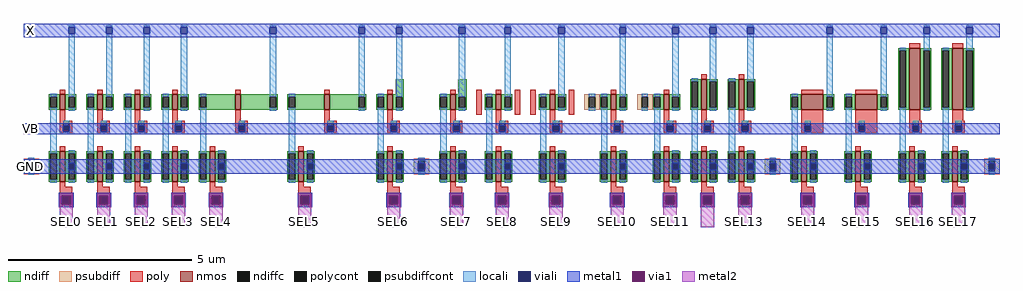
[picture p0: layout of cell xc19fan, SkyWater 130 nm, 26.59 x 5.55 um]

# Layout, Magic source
magic
tech sky130A
magscale 1 2
<< nmos >>
rect 198 0 228 84
rect 402 0 432 84
rect 606 0 636 84
rect 810 0 840 84
rect 1154 0 1184 84
rect 1638 0 1668 84
rect 1982 0 2012 84
rect 2324 0 2354 84
rect 2573 0 2603 84
rect 2867 0 2897 84
rect 3200 0 3230 84
rect 3488 0 3518 84
rect 3692 0 3722 168
rect 3896 0 3926 168
rect 4238 0 4358 84
rect 4532 0 4652 84
rect 4826 0 4886 336
rect 5060 0 5120 336
rect 198 -392 228 -224
rect 402 -392 432 -224
rect 606 -392 636 -224
rect 810 -392 840 -224
rect 1014 -392 1044 -224
rect 1498 -392 1528 -224
rect 1982 -392 2012 -224
rect 2324 -392 2354 -224
rect 2573 -392 2603 -224
rect 2867 -392 2897 -224
rect 3200 -392 3230 -224
rect 3488 -392 3518 -224
rect 3692 -392 3722 -224
rect 3896 -392 3926 -224
rect 4238 -392 4268 -224
rect 4532 -392 4562 -224
rect 4826 -392 4856 -224
rect 5060 -392 5090 -224
<< ndiff >>
rect 4766 324 4826 336
rect 2027 84 2072 168
rect 2369 84 2414 168
rect 3632 156 3692 168
rect 138 72 198 84
rect 138 12 146 72
rect 180 12 198 72
rect 138 0 198 12
rect 228 72 288 84
rect 228 12 246 72
rect 280 12 288 72
rect 228 0 288 12
rect 342 72 402 84
rect 342 12 350 72
rect 384 12 402 72
rect 342 0 402 12
rect 432 72 492 84
rect 432 12 450 72
rect 484 12 492 72
rect 432 0 492 12
rect 546 72 606 84
rect 546 12 554 72
rect 588 12 606 72
rect 546 0 606 12
rect 636 72 696 84
rect 636 12 654 72
rect 688 12 696 72
rect 636 0 696 12
rect 750 72 810 84
rect 750 12 758 72
rect 792 12 810 72
rect 750 0 810 12
rect 840 72 900 84
rect 840 12 858 72
rect 892 12 900 72
rect 840 0 900 12
rect 954 72 1154 84
rect 954 12 962 72
rect 996 12 1154 72
rect 954 0 1154 12
rect 1184 72 1384 84
rect 1184 12 1342 72
rect 1376 12 1384 72
rect 1184 0 1384 12
rect 1438 72 1638 84
rect 1438 12 1446 72
rect 1480 12 1638 72
rect 1438 0 1638 12
rect 1668 72 1868 84
rect 1668 12 1826 72
rect 1860 12 1868 72
rect 1668 0 1868 12
rect 1922 72 1982 84
rect 1922 12 1930 72
rect 1964 12 1982 72
rect 1922 0 1982 12
rect 2012 72 2072 84
rect 2012 12 2030 72
rect 2064 12 2072 72
rect 2012 0 2072 12
rect 2264 72 2324 84
rect 2264 12 2272 72
rect 2306 12 2324 72
rect 2264 0 2324 12
rect 2354 72 2414 84
rect 2354 12 2372 72
rect 2406 12 2414 72
rect 2354 0 2414 12
rect 2513 72 2573 84
rect 2513 12 2521 72
rect 2555 12 2573 72
rect 2513 0 2573 12
rect 2603 72 2663 84
rect 2603 12 2621 72
rect 2655 12 2663 72
rect 2603 0 2663 12
rect 2807 72 2867 84
rect 2807 12 2815 72
rect 2849 12 2867 72
rect 2807 0 2867 12
rect 2897 72 2957 84
rect 2897 12 2915 72
rect 2949 12 2957 72
rect 2897 0 2957 12
rect 3140 72 3200 84
rect 3140 12 3148 72
rect 3182 12 3200 72
rect 3140 0 3200 12
rect 3230 72 3290 84
rect 3230 12 3248 72
rect 3282 12 3290 72
rect 3230 0 3290 12
rect 3428 72 3488 84
rect 3428 12 3436 72
rect 3470 12 3488 72
rect 3428 0 3488 12
rect 3518 72 3578 84
rect 3518 12 3536 72
rect 3570 12 3578 72
rect 3518 0 3578 12
rect 3632 12 3640 156
rect 3674 12 3692 156
rect 3632 0 3692 12
rect 3722 156 3782 168
rect 3722 12 3740 156
rect 3774 12 3782 156
rect 3722 0 3782 12
rect 3836 156 3896 168
rect 3836 12 3844 156
rect 3878 12 3896 156
rect 3836 0 3896 12
rect 3926 156 3986 168
rect 3926 12 3944 156
rect 3978 12 3986 156
rect 3926 0 3986 12
rect 4178 72 4238 84
rect 4178 12 4186 72
rect 4220 12 4238 72
rect 4178 0 4238 12
rect 4358 72 4418 84
rect 4358 12 4376 72
rect 4410 12 4418 72
rect 4358 0 4418 12
rect 4472 72 4532 84
rect 4472 12 4480 72
rect 4514 12 4532 72
rect 4472 0 4532 12
rect 4652 72 4712 84
rect 4652 12 4670 72
rect 4704 12 4712 72
rect 4652 0 4712 12
rect 4766 12 4774 324
rect 4808 12 4826 324
rect 4766 0 4826 12
rect 4886 324 4946 336
rect 4886 12 4904 324
rect 4938 12 4946 324
rect 4886 0 4946 12
rect 5000 324 5060 336
rect 5000 12 5008 324
rect 5042 12 5060 324
rect 5000 0 5060 12
rect 5120 324 5180 336
rect 5120 12 5138 324
rect 5172 12 5180 324
rect 5120 0 5180 12
rect 138 -236 198 -224
rect 138 -380 146 -236
rect 180 -380 198 -236
rect 138 -392 198 -380
rect 228 -236 288 -224
rect 228 -380 246 -236
rect 280 -380 288 -236
rect 228 -392 288 -380
rect 342 -236 402 -224
rect 342 -380 350 -236
rect 384 -380 402 -236
rect 342 -392 402 -380
rect 432 -236 492 -224
rect 432 -380 450 -236
rect 484 -380 492 -236
rect 432 -392 492 -380
rect 546 -236 606 -224
rect 546 -380 554 -236
rect 588 -380 606 -236
rect 546 -392 606 -380
rect 636 -236 696 -224
rect 636 -380 654 -236
rect 688 -380 696 -236
rect 636 -392 696 -380
rect 750 -236 810 -224
rect 750 -380 758 -236
rect 792 -380 810 -236
rect 750 -392 810 -380
rect 840 -236 900 -224
rect 840 -380 858 -236
rect 892 -380 900 -236
rect 840 -392 900 -380
rect 954 -236 1014 -224
rect 954 -380 962 -236
rect 996 -380 1014 -236
rect 954 -392 1014 -380
rect 1044 -236 1104 -224
rect 1044 -380 1062 -236
rect 1096 -380 1104 -236
rect 1044 -392 1104 -380
rect 1438 -236 1498 -224
rect 1438 -380 1446 -236
rect 1480 -380 1498 -236
rect 1438 -392 1498 -380
rect 1528 -236 1588 -224
rect 1528 -380 1546 -236
rect 1580 -380 1588 -236
rect 1528 -392 1588 -380
rect 1922 -236 1982 -224
rect 1922 -380 1930 -236
rect 1964 -380 1982 -236
rect 1922 -392 1982 -380
rect 2012 -236 2072 -224
rect 2012 -380 2030 -236
rect 2064 -380 2072 -236
rect 2264 -236 2324 -224
rect 2012 -392 2072 -380
rect 2264 -380 2272 -236
rect 2306 -380 2324 -236
rect 2264 -392 2324 -380
rect 2354 -236 2414 -224
rect 2354 -380 2372 -236
rect 2406 -380 2414 -236
rect 2354 -392 2414 -380
rect 2513 -236 2573 -224
rect 2513 -380 2521 -236
rect 2555 -380 2573 -236
rect 2513 -392 2573 -380
rect 2603 -236 2663 -224
rect 2603 -380 2621 -236
rect 2655 -380 2663 -236
rect 2603 -392 2663 -380
rect 2807 -236 2867 -224
rect 2807 -380 2815 -236
rect 2849 -380 2867 -236
rect 2807 -392 2867 -380
rect 2897 -236 2957 -224
rect 2897 -380 2915 -236
rect 2949 -380 2957 -236
rect 2897 -392 2957 -380
rect 3140 -236 3200 -224
rect 3140 -380 3148 -236
rect 3182 -380 3200 -236
rect 3140 -392 3200 -380
rect 3230 -236 3290 -224
rect 3230 -380 3248 -236
rect 3282 -380 3290 -236
rect 3230 -392 3290 -380
rect 3428 -236 3488 -224
rect 3428 -380 3436 -236
rect 3470 -380 3488 -236
rect 3428 -392 3488 -380
rect 3518 -236 3578 -224
rect 3518 -380 3536 -236
rect 3570 -380 3578 -236
rect 3518 -392 3578 -380
rect 3632 -236 3692 -224
rect 3632 -380 3640 -236
rect 3674 -380 3692 -236
rect 3632 -392 3692 -380
rect 3722 -236 3782 -224
rect 3722 -380 3740 -236
rect 3774 -380 3782 -236
rect 3722 -392 3782 -380
rect 3836 -236 3896 -224
rect 3836 -380 3844 -236
rect 3878 -380 3896 -236
rect 3836 -392 3896 -380
rect 3926 -236 3986 -224
rect 3926 -380 3944 -236
rect 3978 -380 3986 -236
rect 4178 -236 4238 -224
rect 3926 -392 3986 -380
rect 4178 -380 4186 -236
rect 4220 -380 4238 -236
rect 4178 -392 4238 -380
rect 4268 -236 4328 -224
rect 4268 -380 4286 -236
rect 4320 -380 4328 -236
rect 4268 -392 4328 -380
rect 4472 -236 4532 -224
rect 4472 -380 4480 -236
rect 4514 -380 4532 -236
rect 4472 -392 4532 -380
rect 4562 -236 4622 -224
rect 4562 -380 4580 -236
rect 4614 -380 4622 -236
rect 4562 -392 4622 -380
rect 4766 -236 4826 -224
rect 4766 -380 4774 -236
rect 4808 -380 4826 -236
rect 4766 -392 4826 -380
rect 4856 -236 4916 -224
rect 4856 -380 4874 -236
rect 4908 -380 4916 -236
rect 4856 -392 4916 -380
rect 5000 -236 5060 -224
rect 5000 -380 5008 -236
rect 5042 -380 5060 -236
rect 5000 -392 5060 -380
rect 5090 -236 5150 -224
rect 5090 -380 5108 -236
rect 5142 -380 5150 -236
rect 5090 -392 5150 -380
<< ndiffc >>
rect 146 12 180 72
rect 246 12 280 72
rect 350 12 384 72
rect 450 12 484 72
rect 554 12 588 72
rect 654 12 688 72
rect 758 12 792 72
rect 858 12 892 72
rect 962 12 996 72
rect 1342 12 1376 72
rect 1446 12 1480 72
rect 1826 12 1860 72
rect 1930 12 1964 72
rect 2030 12 2064 72
rect 2272 12 2306 72
rect 2372 12 2406 72
rect 2521 12 2555 72
rect 2621 12 2655 72
rect 2815 12 2849 72
rect 2915 12 2949 72
rect 3148 12 3182 72
rect 3248 12 3282 72
rect 3436 12 3470 72
rect 3536 12 3570 72
rect 3640 12 3674 156
rect 3740 12 3774 156
rect 3844 12 3878 156
rect 3944 12 3978 156
rect 4186 12 4220 72
rect 4376 12 4410 72
rect 4480 12 4514 72
rect 4670 12 4704 72
rect 4774 12 4808 324
rect 4904 12 4938 324
rect 5008 12 5042 324
rect 5138 12 5172 324
rect 146 -380 180 -236
rect 246 -380 280 -236
rect 350 -380 384 -236
rect 450 -380 484 -236
rect 554 -380 588 -236
rect 654 -380 688 -236
rect 758 -380 792 -236
rect 858 -380 892 -236
rect 962 -380 996 -236
rect 1062 -380 1096 -236
rect 1446 -380 1480 -236
rect 1546 -380 1580 -236
rect 1930 -380 1964 -236
rect 2030 -380 2064 -236
rect 2272 -380 2306 -236
rect 2372 -380 2406 -236
rect 2521 -380 2555 -236
rect 2621 -380 2655 -236
rect 2815 -380 2849 -236
rect 2915 -380 2949 -236
rect 3148 -380 3182 -236
rect 3248 -380 3282 -236
rect 3436 -380 3470 -236
rect 3536 -380 3570 -236
rect 3640 -380 3674 -236
rect 3740 -380 3774 -236
rect 3844 -380 3878 -236
rect 3944 -380 3978 -236
rect 4186 -380 4220 -236
rect 4286 -380 4320 -236
rect 4480 -380 4514 -236
rect 4580 -380 4614 -236
rect 4774 -380 4808 -236
rect 4874 -380 4908 -236
rect 5008 -380 5042 -236
rect 5108 -380 5142 -236
<< psubdiff >>
rect 3056 72 3140 84
rect 3056 12 3080 72
rect 3114 12 3140 72
rect 3056 0 3140 12
rect 3344 72 3428 84
rect 3344 12 3368 72
rect 3402 12 3428 72
rect 3344 0 3428 12
rect 0 -278 84 -266
rect 0 -338 25 -278
rect 59 -338 84 -278
rect 0 -350 84 -338
rect 2126 -278 2210 -266
rect 2126 -338 2151 -278
rect 2185 -338 2210 -278
rect 2126 -350 2210 -338
rect 4040 -278 4124 -266
rect 4040 -338 4065 -278
rect 4099 -338 4124 -278
rect 4040 -350 4124 -338
rect 5234 -278 5318 -266
rect 5234 -338 5259 -278
rect 5293 -338 5318 -278
rect 5234 -350 5318 -338
<< psubdiffcont >>
rect 3080 12 3114 72
rect 3368 12 3402 72
rect 25 -338 59 -278
rect 2151 -338 2185 -278
rect 4065 -338 4099 -278
rect 5259 -338 5293 -278
<< poly >>
rect 4826 336 4886 362
rect 5060 336 5120 362
rect 3692 168 3722 194
rect 3896 168 3926 194
rect 198 84 228 110
rect 402 84 432 110
rect 606 84 636 110
rect 810 84 840 110
rect 1154 84 1184 110
rect 1638 84 1668 110
rect 1982 84 2012 110
rect 2324 84 2354 110
rect 198 -58 228 0
rect 402 -58 432 0
rect 606 -58 636 0
rect 810 -58 840 0
rect 1154 -58 1184 0
rect 1638 -58 1668 0
rect 1982 -58 2012 0
rect 2324 -58 2354 0
rect 2468 -26 2498 110
rect 2573 84 2603 110
rect 2573 -58 2603 0
rect 2678 -26 2708 110
rect 2762 -26 2792 110
rect 2867 84 2897 110
rect 2867 -58 2897 0
rect 2972 -26 3002 110
rect 3200 84 3230 110
rect 3488 84 3518 110
rect 4238 84 4358 110
rect 4532 84 4652 110
rect 3200 -58 3230 0
rect 3488 -58 3518 0
rect 3692 -58 3722 0
rect 3896 -58 3926 0
rect 198 -74 266 -58
rect 198 -108 216 -74
rect 250 -108 266 -74
rect 198 -124 266 -108
rect 402 -74 470 -58
rect 402 -108 420 -74
rect 454 -108 470 -74
rect 402 -124 470 -108
rect 606 -74 674 -58
rect 606 -108 624 -74
rect 658 -108 674 -74
rect 606 -124 674 -108
rect 810 -74 878 -58
rect 810 -108 828 -74
rect 862 -108 878 -74
rect 810 -124 878 -108
rect 1154 -74 1222 -58
rect 1154 -108 1172 -74
rect 1206 -108 1222 -74
rect 1154 -124 1222 -108
rect 1638 -74 1706 -58
rect 1638 -108 1656 -74
rect 1690 -108 1706 -74
rect 1638 -124 1706 -108
rect 1982 -74 2050 -58
rect 1982 -108 2000 -74
rect 2034 -108 2050 -74
rect 1982 -124 2050 -108
rect 2324 -74 2392 -58
rect 2324 -108 2342 -74
rect 2376 -108 2392 -74
rect 2324 -124 2392 -108
rect 2573 -74 2641 -58
rect 2573 -108 2591 -74
rect 2625 -108 2641 -74
rect 2573 -124 2641 -108
rect 2867 -74 2935 -58
rect 2867 -108 2885 -74
rect 2919 -108 2935 -74
rect 2867 -124 2935 -108
rect 3200 -74 3268 -58
rect 3200 -108 3218 -74
rect 3252 -108 3268 -74
rect 3200 -124 3268 -108
rect 3488 -74 3556 -58
rect 3488 -108 3506 -74
rect 3540 -108 3556 -74
rect 3488 -124 3556 -108
rect 3692 -74 3760 -58
rect 3692 -108 3710 -74
rect 3744 -108 3760 -74
rect 3692 -124 3760 -108
rect 3896 -74 3964 -58
rect 3896 -108 3914 -74
rect 3948 -108 3964 -74
rect 3896 -124 3964 -108
rect 4238 -74 4358 0
rect 4238 -108 4256 -74
rect 4290 -108 4358 -74
rect 4238 -124 4358 -108
rect 4532 -74 4652 0
rect 4532 -108 4550 -74
rect 4584 -108 4652 -74
rect 4532 -124 4652 -108
rect 4826 -58 4886 0
rect 5060 -58 5120 0
rect 4826 -74 4894 -58
rect 4826 -108 4844 -74
rect 4878 -108 4894 -74
rect 4826 -124 4894 -108
rect 5060 -74 5128 -58
rect 5060 -108 5078 -74
rect 5112 -108 5128 -74
rect 5060 -124 5128 -108
rect 198 -224 228 -198
rect 402 -224 432 -198
rect 606 -224 636 -198
rect 810 -224 840 -198
rect 1014 -224 1044 -198
rect 1498 -224 1528 -198
rect 1982 -224 2012 -198
rect 2324 -224 2354 -198
rect 2573 -224 2603 -198
rect 2867 -224 2897 -198
rect 3200 -224 3230 -198
rect 3488 -224 3518 -198
rect 3692 -224 3722 -198
rect 3896 -224 3926 -198
rect 4238 -224 4268 -198
rect 4532 -224 4562 -198
rect 4826 -224 4856 -198
rect 5060 -224 5090 -198
rect 198 -418 228 -392
rect 402 -418 432 -392
rect 606 -418 636 -392
rect 810 -418 840 -392
rect 1014 -418 1044 -392
rect 1498 -418 1528 -392
rect 1982 -418 2012 -392
rect 2324 -418 2354 -392
rect 2573 -418 2603 -392
rect 2867 -418 2897 -392
rect 3200 -418 3230 -392
rect 3488 -418 3518 -392
rect 3692 -418 3722 -392
rect 3896 -418 3926 -392
rect 4238 -418 4268 -392
rect 4532 -418 4562 -392
rect 4826 -418 4856 -392
rect 5060 -418 5090 -392
rect 198 -474 266 -418
rect 198 -508 216 -474
rect 250 -508 266 -474
rect 198 -524 266 -508
rect 402 -474 470 -418
rect 402 -508 420 -474
rect 454 -508 470 -474
rect 402 -524 470 -508
rect 606 -474 674 -418
rect 606 -508 624 -474
rect 658 -508 674 -474
rect 606 -524 674 -508
rect 810 -474 878 -418
rect 810 -508 828 -474
rect 862 -508 878 -474
rect 810 -524 878 -508
rect 1014 -474 1082 -418
rect 1014 -508 1032 -474
rect 1066 -508 1082 -474
rect 1014 -524 1082 -508
rect 1498 -474 1566 -418
rect 1498 -508 1516 -474
rect 1550 -508 1566 -474
rect 1498 -524 1566 -508
rect 1982 -474 2050 -418
rect 1982 -508 2000 -474
rect 2034 -508 2050 -474
rect 1982 -524 2050 -508
rect 2324 -474 2392 -418
rect 2324 -508 2342 -474
rect 2376 -508 2392 -474
rect 2324 -524 2392 -508
rect 2573 -474 2641 -418
rect 2573 -508 2591 -474
rect 2625 -508 2641 -474
rect 2573 -524 2641 -508
rect 2867 -474 2935 -418
rect 2867 -508 2885 -474
rect 2919 -508 2935 -474
rect 2867 -524 2935 -508
rect 3200 -474 3268 -418
rect 3200 -508 3218 -474
rect 3252 -508 3268 -474
rect 3200 -524 3268 -508
rect 3488 -474 3556 -418
rect 3488 -508 3506 -474
rect 3540 -508 3556 -474
rect 3488 -524 3556 -508
rect 3692 -474 3760 -418
rect 3692 -508 3710 -474
rect 3744 -508 3760 -474
rect 3692 -524 3760 -508
rect 3896 -474 3964 -418
rect 3896 -508 3914 -474
rect 3948 -508 3964 -474
rect 3896 -524 3964 -508
rect 4238 -474 4306 -418
rect 4238 -508 4256 -474
rect 4290 -508 4306 -474
rect 4238 -524 4306 -508
rect 4532 -474 4600 -418
rect 4532 -508 4550 -474
rect 4584 -508 4600 -474
rect 4532 -524 4600 -508
rect 4826 -474 4894 -418
rect 4826 -508 4844 -474
rect 4878 -508 4894 -474
rect 4826 -524 4894 -508
rect 5060 -474 5128 -418
rect 5060 -508 5078 -474
rect 5112 -508 5128 -474
rect 5060 -524 5128 -508
<< polycont >>
rect 216 -108 250 -74
rect 420 -108 454 -74
rect 624 -108 658 -74
rect 828 -108 862 -74
rect 1172 -108 1206 -74
rect 1656 -108 1690 -74
rect 2000 -108 2034 -74
rect 2342 -108 2376 -74
rect 2591 -108 2625 -74
rect 2885 -108 2919 -74
rect 3218 -108 3252 -74
rect 3506 -108 3540 -74
rect 3710 -108 3744 -74
rect 3914 -108 3948 -74
rect 4256 -108 4290 -74
rect 4550 -108 4584 -74
rect 4844 -108 4878 -74
rect 5078 -108 5112 -74
rect 216 -508 250 -474
rect 420 -508 454 -474
rect 624 -508 658 -474
rect 828 -508 862 -474
rect 1032 -508 1066 -474
rect 1516 -508 1550 -474
rect 2000 -508 2034 -474
rect 2342 -508 2376 -474
rect 2591 -508 2625 -474
rect 2885 -508 2919 -474
rect 3218 -508 3252 -474
rect 3506 -508 3540 -474
rect 3710 -508 3744 -474
rect 3914 -508 3948 -474
rect 4256 -508 4290 -474
rect 4550 -508 4584 -474
rect 4844 -508 4878 -474
rect 5078 -508 5112 -474
<< locali >>
rect 246 450 280 462
rect 146 72 180 88
rect 146 -236 180 12
rect 246 72 280 416
rect 450 450 484 462
rect 246 -4 280 12
rect 350 72 384 88
rect 216 -74 250 -58
rect 216 -124 250 -120
rect 25 -278 59 -262
rect 25 -354 59 -338
rect 146 -396 180 -380
rect 246 -236 280 -220
rect 246 -396 280 -380
rect 350 -236 384 12
rect 450 72 484 416
rect 654 450 688 462
rect 450 -4 484 12
rect 554 72 588 88
rect 420 -74 454 -58
rect 420 -124 454 -120
rect 350 -396 384 -380
rect 450 -236 484 -220
rect 450 -396 484 -380
rect 554 -236 588 12
rect 654 72 688 416
rect 858 450 892 462
rect 654 -4 688 12
rect 758 72 792 88
rect 624 -74 658 -58
rect 624 -124 658 -120
rect 554 -396 588 -380
rect 654 -236 688 -220
rect 654 -396 688 -380
rect 758 -236 792 12
rect 858 72 892 416
rect 1342 450 1376 462
rect 858 -4 892 12
rect 962 72 996 88
rect 828 -74 862 -58
rect 828 -124 862 -120
rect 758 -396 792 -380
rect 858 -236 892 -220
rect 858 -396 892 -380
rect 962 -236 996 12
rect 1342 72 1376 416
rect 1826 450 1860 462
rect 1342 -4 1376 12
rect 1446 72 1480 88
rect 1172 -74 1206 -58
rect 1172 -124 1206 -120
rect 962 -396 996 -380
rect 1062 -236 1096 -220
rect 1062 -396 1096 -380
rect 1446 -236 1480 12
rect 1826 72 1860 416
rect 2030 450 2064 462
rect 1826 -4 1860 12
rect 1930 72 1964 88
rect 1656 -74 1690 -58
rect 1656 -124 1690 -120
rect 1446 -396 1480 -380
rect 1546 -236 1580 -220
rect 1546 -396 1580 -380
rect 1930 -236 1964 12
rect 2030 72 2064 416
rect 2372 450 2406 462
rect 2030 -4 2064 12
rect 2272 72 2306 88
rect 2000 -74 2034 -58
rect 2000 -124 2034 -120
rect 1930 -396 1964 -380
rect 2030 -236 2064 -220
rect 2272 -236 2306 12
rect 2372 72 2406 416
rect 2621 450 2655 462
rect 2372 -4 2406 12
rect 2521 72 2555 88
rect 2342 -74 2376 -58
rect 2342 -124 2376 -120
rect 2151 -278 2185 -262
rect 2151 -354 2185 -338
rect 2030 -396 2064 -380
rect 2272 -396 2306 -380
rect 2372 -236 2406 -220
rect 2372 -396 2406 -380
rect 2521 -236 2555 12
rect 2621 72 2655 416
rect 2915 450 2949 462
rect 2621 -4 2655 12
rect 2815 72 2849 88
rect 2591 -74 2625 -58
rect 2591 -124 2625 -120
rect 2521 -396 2555 -380
rect 2621 -236 2655 -220
rect 2621 -396 2655 -380
rect 2815 -236 2849 12
rect 2915 72 2949 416
rect 3248 450 3282 462
rect 2915 -4 2949 12
rect 3080 72 3114 88
rect 3080 -4 3114 12
rect 3148 72 3182 88
rect 2885 -74 2919 -58
rect 2885 -124 2919 -120
rect 2815 -396 2849 -380
rect 2915 -236 2949 -220
rect 2915 -396 2949 -380
rect 3148 -236 3182 12
rect 3248 72 3282 416
rect 3536 450 3570 462
rect 3248 -4 3282 12
rect 3368 72 3402 88
rect 3368 -4 3402 12
rect 3436 72 3470 88
rect 3218 -74 3252 -58
rect 3218 -124 3252 -120
rect 3148 -396 3182 -380
rect 3248 -236 3282 -220
rect 3248 -396 3282 -380
rect 3436 -236 3470 12
rect 3536 72 3570 416
rect 3740 450 3774 462
rect 3536 -4 3570 12
rect 3640 156 3674 172
rect 3506 -74 3540 -58
rect 3506 -124 3540 -120
rect 3436 -396 3470 -380
rect 3536 -236 3570 -220
rect 3536 -396 3570 -380
rect 3640 -236 3674 12
rect 3740 156 3774 416
rect 3944 450 3978 462
rect 3740 -4 3774 12
rect 3844 156 3878 172
rect 3710 -74 3744 -58
rect 3710 -124 3744 -120
rect 3640 -396 3674 -380
rect 3740 -236 3774 -220
rect 3740 -396 3774 -380
rect 3844 -236 3878 12
rect 3944 156 3978 416
rect 4376 450 4410 462
rect 3944 -4 3978 12
rect 4186 72 4220 88
rect 3914 -74 3948 -58
rect 3914 -124 3948 -120
rect 3844 -396 3878 -380
rect 3944 -236 3978 -220
rect 4186 -236 4220 12
rect 4376 72 4410 416
rect 4670 450 4704 462
rect 4376 -4 4410 12
rect 4480 72 4514 88
rect 4256 -74 4290 -58
rect 4256 -124 4290 -120
rect 4065 -278 4099 -262
rect 4065 -354 4099 -338
rect 3944 -396 3978 -380
rect 4186 -396 4220 -380
rect 4286 -236 4320 -220
rect 4286 -396 4320 -380
rect 4480 -236 4514 12
rect 4670 72 4704 416
rect 4904 450 4938 462
rect 4670 -4 4704 12
rect 4774 324 4808 340
rect 4550 -74 4584 -58
rect 4550 -124 4584 -120
rect 4480 -396 4514 -380
rect 4580 -236 4614 -220
rect 4580 -396 4614 -380
rect 4774 -236 4808 12
rect 4904 324 4938 416
rect 5138 450 5172 462
rect 4904 -4 4938 12
rect 5008 324 5042 340
rect 4844 -74 4878 -58
rect 4844 -124 4878 -120
rect 4774 -396 4808 -380
rect 4874 -236 4908 -220
rect 4874 -396 4908 -380
rect 5008 -236 5042 12
rect 5138 324 5172 416
rect 5138 -4 5172 12
rect 5078 -74 5112 -58
rect 5078 -124 5112 -120
rect 5008 -396 5042 -380
rect 5108 -236 5142 -220
rect 5259 -278 5293 -262
rect 5259 -354 5293 -338
rect 5108 -396 5142 -380
rect 216 -474 250 -458
rect 216 -524 250 -508
rect 420 -474 454 -458
rect 420 -524 454 -508
rect 624 -474 658 -458
rect 624 -524 658 -508
rect 828 -474 862 -458
rect 828 -524 862 -508
rect 1032 -474 1066 -458
rect 1032 -524 1066 -508
rect 1516 -474 1550 -458
rect 1516 -524 1550 -508
rect 2000 -474 2034 -458
rect 2000 -524 2034 -508
rect 2342 -474 2376 -458
rect 2342 -524 2376 -508
rect 2591 -474 2625 -458
rect 2591 -524 2625 -508
rect 2885 -474 2919 -458
rect 2885 -524 2919 -508
rect 3218 -474 3252 -458
rect 3218 -524 3252 -508
rect 3506 -474 3540 -458
rect 3506 -524 3540 -508
rect 3710 -474 3744 -458
rect 3710 -524 3744 -508
rect 3914 -474 3948 -458
rect 3914 -524 3948 -508
rect 4256 -474 4290 -458
rect 4256 -524 4290 -508
rect 4550 -474 4584 -458
rect 4550 -524 4584 -508
rect 4844 -474 4878 -458
rect 4844 -524 4878 -508
rect 5078 -474 5112 -458
rect 5078 -524 5112 -508
<< viali >>
rect 246 416 280 450
rect 450 416 484 450
rect 216 -108 250 -86
rect 216 -120 250 -108
rect 25 -325 59 -291
rect 246 -325 280 -291
rect 654 416 688 450
rect 420 -108 454 -86
rect 420 -120 454 -108
rect 450 -325 484 -291
rect 858 416 892 450
rect 624 -108 658 -86
rect 624 -120 658 -108
rect 654 -325 688 -291
rect 1342 416 1376 450
rect 828 -108 862 -86
rect 828 -120 862 -108
rect 858 -325 892 -291
rect 1826 416 1860 450
rect 1172 -108 1206 -86
rect 1172 -120 1206 -108
rect 1062 -325 1096 -291
rect 2030 416 2064 450
rect 1656 -108 1690 -86
rect 1656 -120 1690 -108
rect 1546 -325 1580 -291
rect 2372 416 2406 450
rect 2000 -108 2034 -86
rect 2000 -120 2034 -108
rect 2621 416 2655 450
rect 2342 -108 2376 -86
rect 2342 -120 2376 -108
rect 2030 -325 2064 -291
rect 2151 -325 2185 -291
rect 2372 -325 2406 -291
rect 2915 416 2949 450
rect 2591 -108 2625 -86
rect 2591 -120 2625 -108
rect 2621 -325 2655 -291
rect 3248 416 3282 450
rect 2885 -108 2919 -86
rect 2885 -120 2919 -108
rect 2915 -325 2949 -291
rect 3536 416 3570 450
rect 3218 -108 3252 -86
rect 3218 -120 3252 -108
rect 3248 -325 3282 -291
rect 3740 416 3774 450
rect 3506 -108 3540 -86
rect 3506 -120 3540 -108
rect 3536 -325 3570 -291
rect 3944 416 3978 450
rect 3710 -108 3744 -86
rect 3710 -120 3744 -108
rect 3740 -325 3774 -291
rect 4376 416 4410 450
rect 3914 -108 3948 -86
rect 3914 -120 3948 -108
rect 4670 416 4704 450
rect 4256 -108 4290 -86
rect 4256 -120 4290 -108
rect 3944 -325 3978 -291
rect 4065 -325 4099 -291
rect 4286 -325 4320 -291
rect 4904 416 4938 450
rect 4550 -108 4584 -86
rect 4550 -120 4584 -108
rect 4580 -325 4614 -291
rect 5138 416 5172 450
rect 4844 -108 4878 -86
rect 4844 -120 4878 -108
rect 4874 -325 4908 -291
rect 5078 -108 5112 -86
rect 5078 -120 5112 -108
rect 5108 -325 5142 -291
rect 5259 -325 5293 -291
rect 216 -508 250 -474
rect 420 -508 454 -474
rect 624 -508 658 -474
rect 828 -508 862 -474
rect 1032 -508 1066 -474
rect 1516 -508 1550 -474
rect 2000 -508 2034 -474
rect 2342 -508 2376 -474
rect 2591 -508 2625 -474
rect 2885 -508 2919 -474
rect 3218 -508 3252 -474
rect 3506 -508 3540 -474
rect 3710 -508 3744 -474
rect 3914 -508 3948 -474
rect 4256 -508 4290 -474
rect 4550 -508 4584 -474
rect 4844 -508 4878 -474
rect 5078 -508 5112 -474
<< metal1 >>
rect 0 450 5318 470
rect 0 416 246 450
rect 280 416 450 450
rect 484 416 654 450
rect 688 416 858 450
rect 892 416 1342 450
rect 1376 416 1826 450
rect 1860 416 2030 450
rect 2064 416 2372 450
rect 2406 416 2621 450
rect 2655 416 2915 450
rect 2949 416 3248 450
rect 3282 416 3536 450
rect 3570 416 3740 450
rect 3774 416 3944 450
rect 3978 416 4376 450
rect 4410 416 4670 450
rect 4704 416 4904 450
rect 4938 416 5138 450
rect 5172 416 5318 450
rect 0 396 5318 416
rect 0 -86 5318 -74
rect 0 -120 216 -86
rect 250 -120 420 -86
rect 454 -120 624 -86
rect 658 -120 828 -86
rect 862 -120 1172 -86
rect 1206 -120 1656 -86
rect 1690 -120 2000 -86
rect 2034 -120 2342 -86
rect 2376 -120 2591 -86
rect 2625 -120 2885 -86
rect 2919 -120 3218 -86
rect 3252 -120 3506 -86
rect 3540 -120 3710 -86
rect 3744 -120 3914 -86
rect 3948 -120 4256 -86
rect 4290 -120 4550 -86
rect 4584 -120 4844 -86
rect 4878 -120 5078 -86
rect 5112 -120 5318 -86
rect 0 -132 5318 -120
rect 0 -291 5318 -268
rect 0 -325 25 -291
rect 59 -325 246 -291
rect 280 -325 450 -291
rect 484 -325 654 -291
rect 688 -325 858 -291
rect 892 -325 1062 -291
rect 1096 -325 1546 -291
rect 1580 -325 2030 -291
rect 2064 -325 2151 -291
rect 2185 -325 2372 -291
rect 2406 -325 2621 -291
rect 2655 -325 2915 -291
rect 2949 -325 3248 -291
rect 3282 -325 3536 -291
rect 3570 -325 3740 -291
rect 3774 -325 3944 -291
rect 3978 -325 4065 -291
rect 4099 -325 4286 -291
rect 4320 -325 4580 -291
rect 4614 -325 4874 -291
rect 4908 -325 5108 -291
rect 5142 -325 5259 -291
rect 5293 -325 5318 -291
rect 0 -348 5318 -325
rect 193 -465 273 -451
rect 193 -517 207 -465
rect 259 -517 273 -465
rect 193 -531 273 -517
rect 397 -465 477 -451
rect 397 -517 411 -465
rect 463 -517 477 -465
rect 397 -531 477 -517
rect 601 -465 681 -451
rect 601 -517 615 -465
rect 667 -517 681 -465
rect 601 -531 681 -517
rect 805 -465 885 -451
rect 805 -517 819 -465
rect 871 -517 885 -465
rect 805 -531 885 -517
rect 1009 -465 1089 -451
rect 1009 -517 1023 -465
rect 1075 -517 1089 -465
rect 1009 -531 1089 -517
rect 1493 -465 1573 -451
rect 1493 -517 1507 -465
rect 1559 -517 1573 -465
rect 1493 -531 1573 -517
rect 1977 -465 2057 -451
rect 1977 -517 1991 -465
rect 2043 -517 2057 -465
rect 1977 -531 2057 -517
rect 2319 -465 2399 -451
rect 2319 -517 2333 -465
rect 2385 -517 2399 -465
rect 2319 -531 2399 -517
rect 2568 -465 2648 -451
rect 2568 -517 2582 -465
rect 2634 -517 2648 -465
rect 2568 -531 2648 -517
rect 2862 -465 2942 -451
rect 2862 -517 2876 -465
rect 2928 -517 2942 -465
rect 2862 -531 2942 -517
rect 3195 -465 3275 -451
rect 3195 -517 3209 -465
rect 3261 -517 3275 -465
rect 3195 -531 3275 -517
rect 3483 -465 3563 -451
rect 3483 -517 3497 -465
rect 3549 -517 3563 -465
rect 3483 -531 3563 -517
rect 3687 -465 3767 -451
rect 3687 -517 3701 -465
rect 3753 -517 3767 -465
rect 3687 -531 3767 -517
rect 3891 -465 3971 -451
rect 3891 -517 3905 -465
rect 3957 -517 3971 -465
rect 3891 -531 3971 -517
rect 4233 -465 4313 -451
rect 4233 -517 4247 -465
rect 4299 -517 4313 -465
rect 4233 -531 4313 -517
rect 4527 -465 4607 -451
rect 4527 -517 4541 -465
rect 4593 -517 4607 -465
rect 4527 -531 4607 -517
rect 4821 -465 4901 -451
rect 4821 -517 4835 -465
rect 4887 -517 4901 -465
rect 4821 -531 4901 -517
rect 5055 -465 5135 -451
rect 5055 -517 5069 -465
rect 5121 -517 5135 -465
rect 5055 -531 5135 -517
<< via1 >>
rect 207 -474 259 -465
rect 207 -508 216 -474
rect 216 -508 250 -474
rect 250 -508 259 -474
rect 207 -517 259 -508
rect 411 -474 463 -465
rect 411 -508 420 -474
rect 420 -508 454 -474
rect 454 -508 463 -474
rect 411 -517 463 -508
rect 615 -474 667 -465
rect 615 -508 624 -474
rect 624 -508 658 -474
rect 658 -508 667 -474
rect 615 -517 667 -508
rect 819 -474 871 -465
rect 819 -508 828 -474
rect 828 -508 862 -474
rect 862 -508 871 -474
rect 819 -517 871 -508
rect 1023 -474 1075 -465
rect 1023 -508 1032 -474
rect 1032 -508 1066 -474
rect 1066 -508 1075 -474
rect 1023 -517 1075 -508
rect 1507 -474 1559 -465
rect 1507 -508 1516 -474
rect 1516 -508 1550 -474
rect 1550 -508 1559 -474
rect 1507 -517 1559 -508
rect 1991 -474 2043 -465
rect 1991 -508 2000 -474
rect 2000 -508 2034 -474
rect 2034 -508 2043 -474
rect 1991 -517 2043 -508
rect 2333 -474 2385 -465
rect 2333 -508 2342 -474
rect 2342 -508 2376 -474
rect 2376 -508 2385 -474
rect 2333 -517 2385 -508
rect 2582 -474 2634 -465
rect 2582 -508 2591 -474
rect 2591 -508 2625 -474
rect 2625 -508 2634 -474
rect 2582 -517 2634 -508
rect 2876 -474 2928 -465
rect 2876 -508 2885 -474
rect 2885 -508 2919 -474
rect 2919 -508 2928 -474
rect 2876 -517 2928 -508
rect 3209 -474 3261 -465
rect 3209 -508 3218 -474
rect 3218 -508 3252 -474
rect 3252 -508 3261 -474
rect 3209 -517 3261 -508
rect 3497 -474 3549 -465
rect 3497 -508 3506 -474
rect 3506 -508 3540 -474
rect 3540 -508 3549 -474
rect 3497 -517 3549 -508
rect 3701 -474 3753 -465
rect 3701 -508 3710 -474
rect 3710 -508 3744 -474
rect 3744 -508 3753 -474
rect 3701 -517 3753 -508
rect 3905 -474 3957 -465
rect 3905 -508 3914 -474
rect 3914 -508 3948 -474
rect 3948 -508 3957 -474
rect 3905 -517 3957 -508
rect 4247 -474 4299 -465
rect 4247 -508 4256 -474
rect 4256 -508 4290 -474
rect 4290 -508 4299 -474
rect 4247 -517 4299 -508
rect 4541 -474 4593 -465
rect 4541 -508 4550 -474
rect 4550 -508 4584 -474
rect 4584 -508 4593 -474
rect 4541 -517 4593 -508
rect 4835 -474 4887 -465
rect 4835 -508 4844 -474
rect 4844 -508 4878 -474
rect 4878 -508 4887 -474
rect 4835 -517 4887 -508
rect 5069 -474 5121 -465
rect 5069 -508 5078 -474
rect 5078 -508 5112 -474
rect 5112 -508 5121 -474
rect 5069 -517 5121 -508
<< metal2 >>
rect 197 -465 269 -455
rect 197 -517 207 -465
rect 259 -517 269 -465
rect 197 -640 269 -517
rect 401 -465 473 -455
rect 401 -517 411 -465
rect 463 -517 473 -465
rect 401 -640 473 -517
rect 605 -465 677 -455
rect 605 -517 615 -465
rect 667 -517 677 -465
rect 605 -640 677 -517
rect 809 -465 881 -455
rect 809 -517 819 -465
rect 871 -517 881 -465
rect 809 -640 881 -517
rect 1013 -465 1085 -455
rect 1013 -517 1023 -465
rect 1075 -517 1085 -465
rect 1013 -640 1085 -517
rect 1497 -465 1569 -455
rect 1497 -517 1507 -465
rect 1559 -517 1569 -465
rect 1497 -640 1569 -517
rect 1981 -465 2053 -455
rect 1981 -517 1991 -465
rect 2043 -517 2053 -465
rect 1981 -640 2053 -517
rect 2323 -465 2395 -455
rect 2323 -517 2333 -465
rect 2385 -517 2395 -465
rect 2323 -640 2395 -517
rect 2572 -465 2644 -455
rect 2572 -517 2582 -465
rect 2634 -517 2644 -465
rect 2572 -640 2644 -517
rect 2866 -465 2938 -455
rect 2866 -517 2876 -465
rect 2928 -517 2938 -465
rect 2866 -640 2938 -517
rect 3199 -465 3271 -455
rect 3199 -517 3209 -465
rect 3261 -517 3271 -465
rect 3199 -640 3271 -517
rect 3487 -465 3559 -455
rect 3487 -517 3497 -465
rect 3549 -517 3559 -465
rect 3487 -640 3559 -517
rect 3691 -465 3763 -455
rect 3691 -517 3701 -465
rect 3753 -517 3763 -465
rect 3691 -640 3763 -517
rect 3895 -465 3967 -455
rect 3895 -517 3905 -465
rect 3957 -517 3967 -465
rect 3895 -640 3967 -517
rect 4237 -465 4309 -455
rect 4237 -517 4247 -465
rect 4299 -517 4309 -465
rect 4237 -640 4309 -517
rect 4531 -465 4603 -455
rect 4531 -517 4541 -465
rect 4593 -517 4603 -465
rect 4531 -640 4603 -517
rect 4825 -465 4897 -455
rect 4825 -517 4835 -465
rect 4887 -517 4897 -465
rect 4825 -640 4897 -517
rect 5059 -465 5131 -455
rect 5059 -517 5069 -465
rect 5121 -517 5131 -465
rect 5059 -640 5131 -517
<< labels >>
flabel metal2 197 -640 269 -580 0 FreeSans 320 0 0 0 SEL0
port 1 nsew
flabel metal2 401 -640 473 -580 0 FreeSans 320 0 0 0 SEL1
port 2 nsew
flabel metal2 605 -640 677 -580 0 FreeSans 320 0 0 0 SEL2
port 3 nsew
flabel metal2 809 -640 881 -580 0 FreeSans 320 0 0 0 SEL3
port 4 nsew
flabel metal2 1013 -640 1085 -580 0 FreeSans 320 0 0 0 SEL4
port 5 nsew
flabel metal2 1497 -640 1569 -580 0 FreeSans 320 0 0 0 SEL5
port 6 nsew
flabel metal2 1981 -640 2053 -580 0 FreeSans 320 0 0 0 SEL6
port 7 nsew
flabel metal2 2323 -640 2395 -580 0 FreeSans 320 0 0 0 SEL7
port 8 nsew
flabel metal2 2572 -640 2644 -580 0 FreeSans 320 0 0 0 SEL8
port 9 nsew
flabel metal2 2866 -640 2938 -580 0 FreeSans 320 0 0 0 SEL9
port 10 nsew
flabel metal2 3199 -640 3271 -580 0 FreeSans 320 0 0 0 SEL10
port 11 nsew
flabel metal2 3487 -640 3559 -580 0 FreeSans 320 0 0 0 SEL11
port 12 nsew
flabel metal2 3691 -640 3763 -580 0 FreeSans 320 0 0 0 SEL12
port 13 nsew
flabel metal2 3895 -640 3967 -580 0 FreeSans 320 0 0 0 SEL13
port 14 nsew
flabel metal2 4237 -640 4309 -580 0 FreeSans 320 0 0 0 SEL14
port 15 nsew
flabel metal2 4531 -640 4603 -580 0 FreeSans 320 0 0 0 SEL15
port 16 nsew
flabel metal2 4825 -640 4897 -580 0 FreeSans 320 0 0 0 SEL16
port 17 nsew
flabel metal2 5059 -640 5131 -580 0 FreeSans 320 0 0 0 SEL17
port 18 nsew
flabel metal1 0 396 80 470 0 FreeSans 320 0 0 0 X
port 19 nsew
flabel metal1 0 -132 80 -74 0 FreeSans 320 0 0 0 VB
port 20 nsew
flabel metal1 0 -348 80 -268 0 FreeSans 320 0 0 0 GND
port 21 nsew
<< end >>
